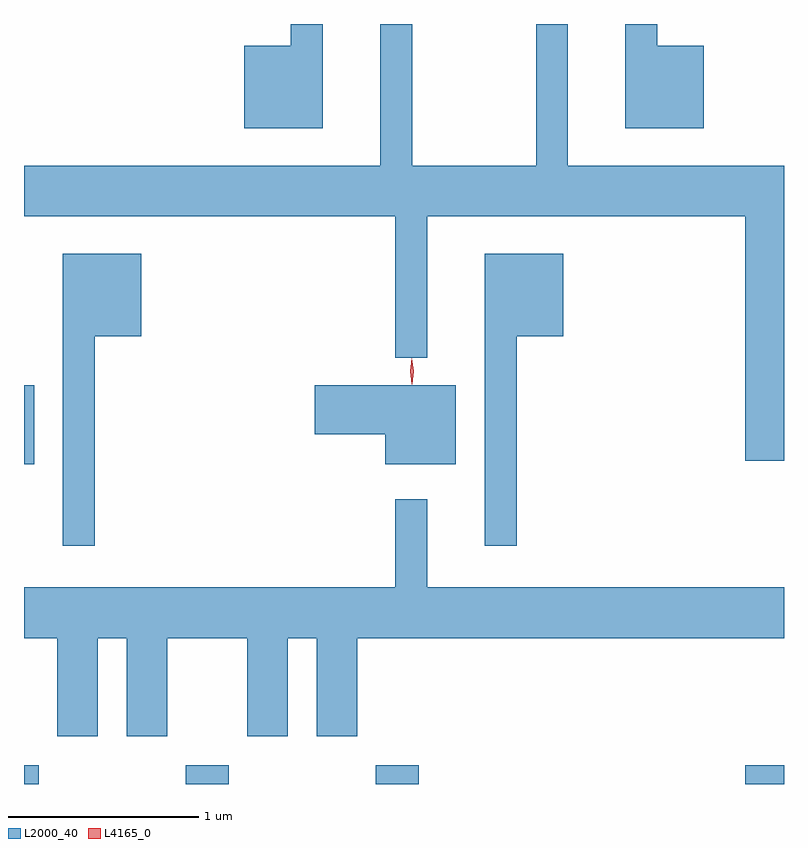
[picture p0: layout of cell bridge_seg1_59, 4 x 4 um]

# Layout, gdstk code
import gdstk
lib = gdstk.Library(unit=1e-6, precision=1e-09)
def R(c, l, rs):  # rectangles x0, y0, x1, y1
    for r in rs: c.add(gdstk.rectangle(r[:2], r[2:], *l))
def P(c, l, *ps):  # polygons
    for p in ps: c.add(gdstk.Polygon(p, *l))
L2000_40 = (2000, 40)
L4165_0 = (4165, 0)

bridge_seg1_59 = lib.new_cell('bridge_seg1_59')
R(bridge_seg1_59, L2000_40, [(1906.886,881.049,1906.964,881.149), (1907.736,881.049,1907.964,881.149), (1908.736,881.049,1908.964,881.149), (1910.681,881.049,1910.886,881.149), (1906.886,882.731,1906.939,883.149)])
P(bridge_seg1_59, L2000_40, [(1910.464,884.934),(1910.219,884.934),(1910.219,885.049),(1910.051,885.049),(1910.051,884.501),(1910.464,884.501)],
  [(1908.459,885.049),(1908.291,885.049),(1908.291,884.934),(1908.046,884.934),(1908.046,884.501),(1908.459,884.501)],
  [(1910.886,884.304),(1909.749,884.304),(1909.749,885.048),(1909.581,885.048),(1909.581,884.304),(1908.929,884.304),(1908.929,885.048),(1908.761,885.048),(1908.761,884.304),(1906.886,884.304),(1906.886,884.036),(1908.841,884.036),(1908.841,883.293),(1909.009,883.293),(1909.009,884.036),(1910.681,884.036),(1910.681,882.751),(1910.886,882.751)],
  [(1909.479,883.406),(1909.724,883.406),(1909.724,883.839),(1909.311,883.839),(1909.311,882.303),(1909.479,882.303)],
  [(1907.259,883.406),(1907.504,883.406),(1907.504,883.839),(1907.091,883.839),(1907.091,882.303),(1907.259,882.303)],
  [(1909.159,883.149),(1908.416,883.149),(1908.416,882.891),(1908.786,882.891),(1908.786,882.731),(1909.159,882.731)],
  [(1907.274,881.816),(1907.426,881.816),(1907.426,881.301),(1907.639,881.301),(1907.639,881.816),(1908.061,881.816),(1908.061,881.301),(1908.274,881.301),(1908.274,881.816),(1908.426,881.816),(1908.426,881.301),(1908.639,881.301),(1908.639,881.816),(1910.886,881.816),(1910.886,882.084),(1909.009,882.084),(1909.009,882.548),(1908.841,882.548),(1908.841,882.084),(1906.886,882.084),(1906.886,881.816),(1907.061,881.816),(1907.061,881.301),(1907.274,881.301)])
P(bridge_seg1_59, L4165_0, [(1908.928,883.154),(1908.918,883.222),(1908.927,883.29),(1908.928,883.29),(1908.928,883.29),(1908.938,883.222),(1908.929,883.154),(1908.929,883.154)],
  [(1908.929,883.16),(1908.929,883.161),(1908.919,883.224),(1908.927,883.286),(1908.928,883.287),(1908.928,883.286),(1908.938,883.224),(1908.93,883.161)])

lib.write_gds('bridge_seg1_59.gds')
